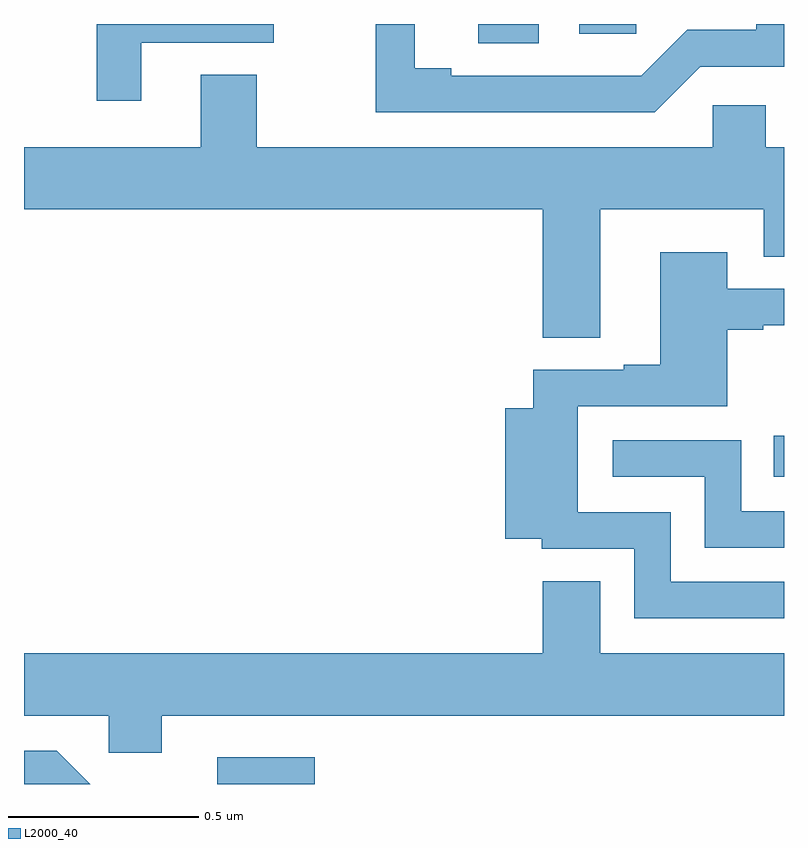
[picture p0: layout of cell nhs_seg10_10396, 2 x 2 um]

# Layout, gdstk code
import gdstk
lib = gdstk.Library(unit=1e-6, precision=1e-09)
def R(c, l, rs):  # rectangles x0, y0, x1, y1
    for r in rs: c.add(gdstk.rectangle(r[:2], r[2:], *l))
def P(c, l, *ps):  # polygons
    for p in ps: c.add(gdstk.Polygon(p, *l))
L2000_40 = (2000, 40)

nhs_seg10_10396 = lib.new_cell('nhs_seg10_10396')
R(nhs_seg10_10396, L2000_40, [(242.508,1269.5,242.765,1269.57), (243.973,1270.308,244,1270.417), (243.195,1271.449,243.354,1271.5), (243.461,1271.475,243.611,1271.5)])
P(nhs_seg10_10396, L2000_40, [(242.308,1271.451),(242.657,1271.451),(242.657,1271.5),(242.191,1271.5),(242.191,1271.298),(242.308,1271.298)],
  [(243.78,1271.388),(244,1271.388),(244,1271.5),(243.927,1271.5),(243.927,1271.485),(243.745,1271.485),(243.624,1271.364),(243.124,1271.364),(243.124,1271.384),(243.028,1271.384),(243.028,1271.5),(242.926,1271.5),(242.926,1271.268),(243.66,1271.268)],
  [(243.517,1271.012),(243.947,1271.012),(243.947,1270.888),(244,1270.888),(244,1271.176),(243.952,1271.176),(243.952,1271.286),(243.813,1271.286),(243.813,1271.176),(242.613,1271.176),(242.613,1271.366),(242.465,1271.366),(242.465,1271.176),(242,1271.176),(242,1271.012),(243.365,1271.012),(243.365,1270.675),(243.517,1270.675)],
  [(244,1270.032),(243.702,1270.032),(243.702,1270.215),(243.457,1270.215),(243.457,1270.494),(243.85,1270.494),(243.85,1270.695),(243.946,1270.695),(243.946,1270.707),(244,1270.707),(244,1270.803),(243.85,1270.803),(243.85,1270.9),(243.674,1270.9),(243.674,1270.603),(243.578,1270.603),(243.578,1270.59),(243.34,1270.59),(243.34,1270.489),(243.266,1270.489),(243.266,1270.145),(243.363,1270.145),(243.363,1270.119),(243.606,1270.119),(243.606,1269.936),(244,1269.936)],
  [(244,1270.218),(243.888,1270.218),(243.888,1270.404),(243.549,1270.404),(243.549,1270.308),(243.792,1270.308),(243.792,1270.122),(244,1270.122)],
  [(242.362,1269.68),(244,1269.68),(244,1269.844),(243.517,1269.844),(243.517,1270.034),(243.365,1270.034),(243.365,1269.844),(242,1269.844),(242,1269.68),(242.223,1269.68),(242.223,1269.582),(242.362,1269.582)],
  [(242.086,1269.588),(242,1269.588),(242,1269.5),(242.174,1269.5)])

lib.write_gds('nhs_seg10_10396.gds')
